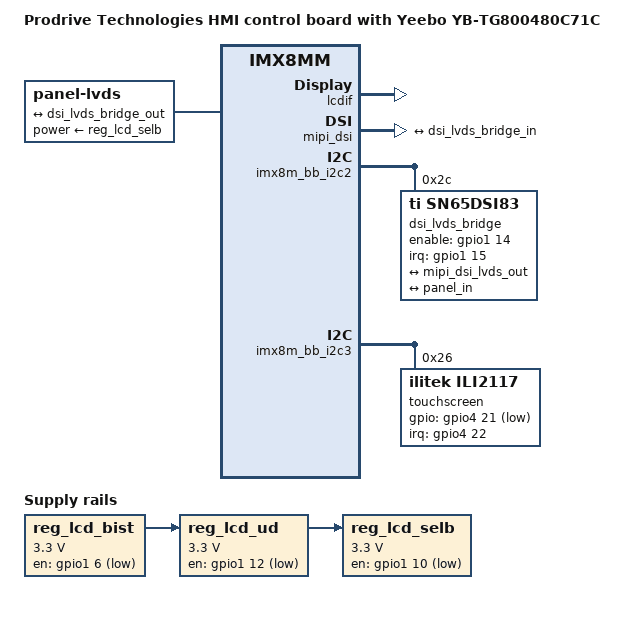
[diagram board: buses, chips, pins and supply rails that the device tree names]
// SPDX-License-Identifier: (GPL-2.0+ OR MIT)
//
// Copyright 2022 Prodrive Technologies

/*
 * This device tree describes the HMI control board, with the Yeebo YB-TG800480C71C display connected. This is an LVDS
 * display with integrated touchscreen.
 */

// Get the HMI control board base
#include "imx8mm-hmi-cb-base.dtsi"

/ {
	model = "Prodrive Technologies HMI control board with Yeebo YB-TG800480C71C";
	compatible = "pdt,imx8mm-ptic-base", "fsl,imx8mm";
};

&lcdif {
	status = "okay";
};

&mipi_dsi {
	status = "okay";
	fsl,clock-drop-level = <2>;

	port@1 {
		mipi_dsi_lvds_out: endpoint {
			remote-endpoint = <&dsi_lvds_bridge_in>;
			attach-bridge;
		};
	};
};

&imx8m_bb_i2c2 {
	status = "okay";

	dsi_lvds_bridge: sn65dsi83@2c {
		#address-cells = <1>;
		#size-cells = <0>;
		compatible = "ti,sn65dsi83";
		reg = <0x2c>;
		enable-gpios = <&gpio1 14 GPIO_ACTIVE_HIGH>;  // DISPLAY_IO9
		interrupt-parent = <&gpio1>;
		interrupts = <15 IRQ_TYPE_LEVEL_HIGH>; // DISPLAY_IO10
		pinctrl-names = "default";
		pinctrl-0 = <&pincrtl_mipi>;
		status = "okay";

		port@0 {
			reg = <0>;
			dsi_lvds_bridge_in: endpoint {
				remote-endpoint = <&mipi_dsi_lvds_out>;
				data-lanes = <1 2 3 4>;
			};
		};

		port@2 {
			reg = <2>;
			dsi_lvds_bridge_out: endpoint {
				remote-endpoint = <&panel_in>;
			};
		};
	};
};

/ {
	/*
	  bist: 6
	  reset: 7
	  stbyb: 8
	  dimo: 9 (backlight)
	  selb: 10
	  l/r: 11
	  u/d: 12
	*/
	reg_lcd_bist: regulator-lcd-bist {
		compatible = "regulator-fixed";
		regulator-min-microvolt = <3300000>;
		regulator-max-microvolt = <3300000>;
		regulator-name = "reg_lcd_bist";
		gpio = <&gpio1 6 GPIO_ACTIVE_HIGH>;
		startup-delay-us = <0>;
		enable-active-low;
	};

	reg_lcd_ud: regulator-lcd-ud {
		compatible = "regulator-fixed";
		regulator-min-microvolt = <3300000>;
		regulator-max-microvolt = <3300000>;
		regulator-name = "reg_lcd_ud";
		gpio = <&gpio1 12 GPIO_ACTIVE_HIGH>;
		startup-delay-us = <0>;
		enable-active-low;
		vin-supply = <&reg_lcd_bist>;
	};

	reg_lcd_selb: regulator-lcd-selb {
		compatible = "regulator-fixed";
		regulator-min-microvolt = <3300000>;
		regulator-max-microvolt = <3300000>;
		regulator-name = "reg_lcd_selb";
		gpio = <&gpio1 10 GPIO_ACTIVE_HIGH>;
		startup-delay-us = <0>;
		enable-active-low;
		vin-supply = <&reg_lcd_ud>;
	};

	lvds {
		compatible = "panel-lvds";
		power-supply = <&reg_lcd_selb>;
		width-mm = <108>;
		height-mm = <123>;
		//backlight = <&backlight_lvds>;
		data-mapping = "vesa-24";

		panel-timing {
			clock-frequency = <51200000>;
			hactive = <1024>;
			vactive = <600>;
			hsync-len = <70>;
			hfront-porch = <160>;
			hback-porch = <160>;
			vfront-porch = <12>;
			vback-porch = <23>;
			vsync-len = <10>;
			hsync-active = <1>;
			vsync-active = <1>;
			de-active = <1>;
			pixelclk-active = <1>;
		};

		port@0 {
			panel_in: endpoint {
				remote-endpoint = <&dsi_lvds_bridge_out>;
			};
		};
	};
};

&imx8m_bb_i2c3 {
	status = "okay";

	touchscreen@26 {
		compatible = "ilitek,ili2117";
		reg = <0x26>;
		// touchscreen-inverted-x = <1>;
		// touchscreen-swapped-x-y = <1>;
		interrupt-parent = <&gpio4>;
		interrupts = <22 IRQ_TYPE_EDGE_RISING>;
		pinctrl-0 = <&pinctrl_gpio>;
		gpios = <&gpio4 21 GPIO_ACTIVE_LOW>;
		status = "okay"; // Disable for now.
        };
};
